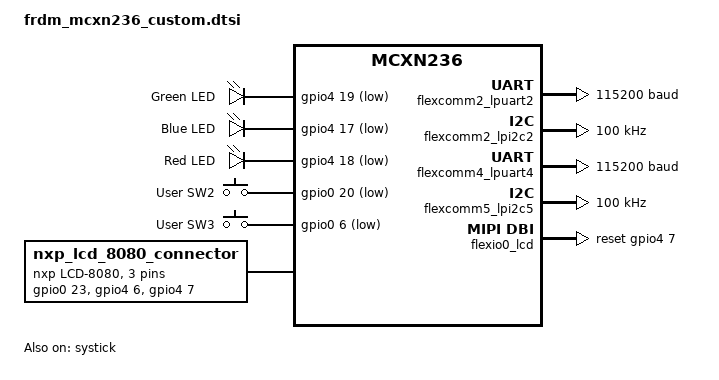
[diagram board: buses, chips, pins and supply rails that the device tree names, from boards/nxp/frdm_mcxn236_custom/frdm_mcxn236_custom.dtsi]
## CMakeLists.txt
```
cmake_minimum_required(VERSION 3.20.0)

list(APPEND BOARD_ROOT ${CMAKE_CURRENT_SOURCE_DIR})

set(ZEPHYR_EXTRA_MODULES ${CMAKE_CURRENT_SOURCE_DIR}/modules/custom-drivers)

find_package(Zephyr REQUIRED HINTS $ENV{ZEPHYR_BASE})
project(app)

target_sources(app PRIVATE src/main.c)
target_sources(app PRIVATE src/sensor_shell.c)
```

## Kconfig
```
menuconfig LED_SUBSYSTEM
	bool "LED Subsystem"
	default y

if LED_SUBSYSTEM
choice
	prompt "LED blink speed time"
	default BLINK_SLEEP_1000MS
config BLINK_SLEEP_250MS
	bool "250ms (fast)"
config BLINK_SLEEP_1000MS
	bool "1s (medium)"
config BLINK_SLEEP_2000MS
	bool "2s (slow)"
endchoice

config BLINK_SLEEP_TIME_MS
	int
	default 250 if BLINK_SLEEP_250MS
	default 1000 if BLINK_SLEEP_1000MS
	default 2000 if BLINK_SLEEP_2000MS
	default 0

menuconfig LED_ADVANCED
	bool "Advanced LED settings"
	default n

if LED_ADVANCED
config LED_BRIGHTNESS
	int "LED brightness (0-100)"
	range 0 100
	default 100
config LED_FADE_DURATION_MS
	int "Fade duration (ms)"
	range 0 5000
	default 500

menu "Expert settings"
	visible if LED_ADVANCED
config LED_DEBUG
	bool "Enable LED debugging"
	default n
config BLINK_PATTERN_CUSTOM
	bool "Custom blink pattern"
	default n
endmenu

endif # LED_ADVANCED
endif # LED_SUBSYSTEM

config APP_HEARTBEAT_PERIOD_MS
	int "Heartbeat period (ms)"
	range 100 2000
	default 500

source "Kconfig.zephyr"
```

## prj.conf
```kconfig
CONFIG_SENSOR=y
CONFIG_GPIO=y
CONFIG_LOG=y
CONFIG_CUSTOM_LED_SENSOR=y
CONFIG_SHELL=y
CONFIG_SHELL_CMDS=y
CONFIG_SHELL_TAB=y
CONFIG_SHELL_TAB_AUTOCOMPLETION=y
CONFIG_SHELL_HISTORY=y
CONFIG_SHELL_LOG_BACKEND=y
```

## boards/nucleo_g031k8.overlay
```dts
/{
	aliases {
        	led-1 = &red_led;
        	led-2 = &blue_led;
    	};

	leds {
		red_led: led_1 {
			gpios = <&gpioa 15 GPIO_ACTIVE_LOW>; // PA15
		};
		blue_led: led_2 {
			gpios = <&gpiob 1 GPIO_ACTIVE_LOW>; // PB1
		};
	};

};
```

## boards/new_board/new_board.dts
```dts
/dts-v1/;
#include <st/g0/stm32g031X8.dtsi>
#include <st/g0/stm32g031k(4-6-8)tx-pinctrl.dtsi>

/{

	model = "New Board From Scratch";
	compatible = "st,stm32g031k8-nucleo";

	chosen {
		zephyr,sram = &sram0;
		zephyr,flash = &flash0;
	};

	aliases {
		led0 = &green_led_3;
	};

	leds: leds {
		compatible = "gpio-leds";

		green_led_3: led_3 {
			gpios = <&gpioc 6 GPIO_ACTIVE_HIGH>;
			label = "User LD3";
		};
	};
};

&timers3 {
	status = "okay";

	pwm3: pwm {
		status = "okay";
		pinctrl-0 = <&tim3_ch1_pc6>;
		pinctrl-names = "default";
	};
};

&clk_hsi {
	status = "okay";
};

&pll {
	div-m = <1>;
	mul-n = <8>;
	div-r = <2>;
	clocks = <&clk_hsi>;
	status = "okay";
};

&rcc {
	clocks = <&pll>;
	clock-frequency = <DT_FREQ_M(64)>;
	ahb-prescaler = <1>;
	apb1-prescaler = <1>;
};
```

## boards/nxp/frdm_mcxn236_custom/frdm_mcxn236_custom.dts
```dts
/*
 * Copyright 2024 NXP
 *
 * SPDX-License-Identifier: Apache-2.0
 */

/dts-v1/;

#include <nxp/nxp_mcxn23x.dtsi>
#include "frdm_mcxn236_custom.dtsi"

/ {
	model = "NXP FRDM_N236 board";
	compatible = "nxp,mcxn236", "nxp,mcx";

	chosen {
		zephyr,sram = &sram0;
		zephyr,flash = &flash;
		zephyr,flash-controller = &fmu;
		zephyr,code-partition = &slot0_partition;
		zephyr,uart-mcumgr = &flexcomm4_lpuart4;
		zephyr,console = &flexcomm4_lpuart4;
		zephyr,shell-uart = &flexcomm4_lpuart4;
		zephyr,canbus = &flexcan1;
	};

	my_led_sensor: led_sensor {
		compatible = "custom,led-sensor";
		gpios = <&gpio4 17 GPIO_ACTIVE_LOW>;
		init-delay-ms = <500>;
		status = "okay";

	};

	aliases{
		watchdog0 = &wwdt0;
		pwm-0 = &flexpwm1_pwm0;
		rtc = &rtc;
	};
};

&sram0 {
	compatible = "mmio-sram";
	reg = <0x20000000 DT_SIZE_K(192)>;
};

&gpio4 {
	status = "okay";
};

&gpio1 {
	status = "okay";
};

&gpio0 {
	status = "okay";
};

&green_led {
	status = "okay";
};

&red_led {
	status = "okay";
};

&user_button_2 {
	status = "okay";
};

&edma0 {
	status = "okay";
};

&flexcomm2 {
	status = "okay";
};

/*
 * LPFLEXCOMM supports UART and I2C on the same instance, enable this for
 * LFLEXCOMM2
 */
&flexcomm2_lpuart2 {
	status = "okay";
};

&flexcomm2_lpi2c2 {
	status = "okay";
};

&flexcomm3 {
	status = "okay";
};

&flexcomm3_lpspi3 {
	status = "okay";
};

&flexcomm4 {
	status = "okay";
};

&flexcomm4_lpuart4 {
	status = "okay";
};

&flexcomm5 {
	status = "okay";
};

&flexcomm5_lpi2c5 {
	status = "okay";
};

&wwdt0 {
	status = "okay";
};

&flexpwm1_pwm0 {
	status = "okay";
};

&flexcan1 {
	status = "okay";
};

&ctimer0 {
	status = "okay";
};

&vref {
	status = "okay";
};

&lpadc0 {
	status = "okay";
};

zephyr_udc0: &usb1 {
	status = "okay";
	phy-handle = <&usbphy1>;
};

&usbphy1 {
	status = "okay";
	tx-d-cal = <4>;
	tx-cal-45-dp-ohms = <7>;
	tx-cal-45-dm-ohms = <7>;
};

&lpcmp0 {
	status = "okay";
};

&i3c1 {
	status = "okay";
};

&flexio0 {
	status = "okay";
};

&lptmr0 {
	status = "okay";
};

&mrt0_channel0 {
	status = "okay";
};

&rtc {
	status = "okay";
};
```

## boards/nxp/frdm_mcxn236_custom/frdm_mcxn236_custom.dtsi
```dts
/*
 * Copyright 2024 NXP
 *
 * SPDX-License-Identifier: Apache-2.0
 */

#include "frdm_mcxn236_custom-pinctrl.dtsi"
#include <zephyr/dt-bindings/i2c/i2c.h>
#include <zephyr/dt-bindings/input/input-event-codes.h>

/ {
	aliases{
		led0 = &red_led;
		led1 = &green_led;
		led2 = &blue_led;
		sw0 = &user_button_2;
		sw1 = &user_button_3;
		mcuboot-button0 = &user_button_2;
	};

	leds {
		compatible = "gpio-leds";
		green_led: led_1 {
			gpios = <&gpio4 19 GPIO_ACTIVE_LOW>;
			label = "Green LED";
		};
		blue_led: led_2 {
			gpios = <&gpio4 17 GPIO_ACTIVE_LOW>;
			label = "Blue LED";
		};
		red_led: led_3 {
			gpios = <&gpio4 18 GPIO_ACTIVE_LOW>;
			label = "Red LED";
		};
	};

	gpio_keys {
		compatible = "gpio-keys";
		user_button_2: button_0 {
			label = "User SW2";
			gpios = <&gpio0 20 (GPIO_ACTIVE_LOW | GPIO_PULL_UP)>;
			zephyr,code = <INPUT_KEY_WAKEUP>;
		};
		user_button_3: button_1 {
			label = "User SW3";
			gpios = <&gpio0 6 (GPIO_ACTIVE_LOW | GPIO_PULL_UP)>;
			zephyr,code = <INPUT_KEY_0>;
		};
	};

	/*
	 * This node describes the GPIO pins of the LCD-PAR-S035 panel 8080 interface.
	 */
	nxp_lcd_8080_connector: lcd-8080-connector {
		compatible = "nxp,lcd-8080";
		#gpio-cells = <2>;
		gpio-map-mask = <0xffffffff 0xffffffc0>;
		gpio-map-pass-thru = <0 0x3f>;
		gpio-map =	<9  0 &gpio0 23 0>,	/* Pin 9, LCD touch INT */
				<10  0 &gpio4 6 0>,	/* Pin 10, LCD backlight control */
				<11  0 &gpio4 7 0>;	/* Pin 11, LCD and touch reset */
	};
};

&flexcomm2_lpuart2 {
	current-speed = <115200>;
	pinctrl-0 = <&pinmux_flexcomm2_lpuart>;
	pinctrl-names = "default";
};

&flexcomm2_lpi2c2 {
	pinctrl-0 = <&pinmux_flexcomm2_lpi2c>;
	pinctrl-names = "default";
	clock-frequency = <I2C_BITRATE_STANDARD>;
};

nxp_8080_touch_panel_i2c: &flexcomm2_lpi2c2 {
	pinctrl-0 = <&pinmux_flexcomm2_lpi2c>;
	pinctrl-names = "default";
	clock-frequency = <I2C_BITRATE_STANDARD>;
};

&flexcomm3_lpspi3 {
	pinctrl-0 = <&pinmux_flexcomm3_lpspi>;
	pinctrl-names = "default";
};

&flexcomm4_lpuart4 {
	current-speed = <115200>;
	pinctrl-0 = <&pinmux_flexcomm4_lpuart>;
	pinctrl-names = "default";
};

&flexcomm5_lpi2c5 {
	pinctrl-0 = <&pinmux_flexcomm5_lpi2c>;
	pinctrl-names = "default";
	clock-frequency = <I2C_BITRATE_STANDARD>;
};

/*
 * MCXN236 board uses OS timer as the kernel timer
 * In case we need to switch to SYSTICK timer, then
 * replace &os_timer with &systick
 */
&os_timer {
	status = "disabled";
};

&systick {
	status = "okay";
};

&flash {
	partitions {
		compatible = "fixed-partitions";
		#address-cells = <1>;
		#size-cells = <1>;

		/*
		 * Partition sizes must be aligned
		 * to the flash memory sector size of 8KB.
		 */
		boot_partition: partition@0 {
			label = "mcuboot";
			reg = <0x00000000 DT_SIZE_K(80)>;
		};
		/* For the MCUBoot "upgrade only" method,
		 * the slot sizes must be equal.
		 */
		slot0_partition: partition@14000 {
			label = "image-0";
			reg = <0x00014000 DT_SIZE_K(440)>;
		};
		slot1_partition: partition@84000 {
			label = "image-1";
			reg = <0x0084000 DT_SIZE_K(440)>;
		};
		storage_partition: partition@F0000 {
			label = "storage";
			reg = <0x000F0000 DT_SIZE_K(64)>;
		};
	};
};

&flexpwm1_pwm0 {
	pinctrl-0 = <&pinmux_flexpwm1_pwm0>;
	pinctrl-names = "default";
};

&lpadc0 {
	pinctrl-0 = <&pinmux_lpadc0>;
	pinctrl-names = "default";
};

&lpcmp0 {
	pinctrl-0 = <&pinmux_lpcmp0>;
	pinctrl-names = "default";
};

&flexcan1 {
	pinctrl-0 = <&pinmux_flexcan1>;
	pinctrl-names = "default";
};

zephyr_mipi_dbi_parallel: &flexio0_lcd {
	/* DMA channels 0, muxed to FlexIO TX */
	dmas = <&edma0 0 61>;
	dma-names = "tx";
	shifters-count = <8>;
	timers-count = <1>;
	enwr-pin = <28>;
	rd-pin = <27>;
	data-pin-start = <4>;
	reset-gpios = <&gpio4 7 GPIO_ACTIVE_HIGH>;
	cs-gpios = <&gpio4 14 GPIO_ACTIVE_HIGH>;
	rs-gpios = <&gpio0 24 GPIO_ACTIVE_HIGH>;
	pinctrl-0 = <&pinmux_flexio_lcd>;
	pinctrl-names = "default";
};

&i3c1 {
	pinctrl-0 = <&pinmux_i3c1>;
	pinctrl-names = "default";
};

p3t1755dp_ard_i3c_interface: &i3c1 {};
p3t1755dp_ard_i2c_interface: &flexcomm5_lpi2c5 {};
```

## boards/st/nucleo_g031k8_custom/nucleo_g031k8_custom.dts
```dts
/*
 * Copyright (c) 2022 Joylab AG <team@joylab.ch>
 *
 * SPDX-License-Identifier: Apache-2.0
 */

/dts-v1/;
#include <st/g0/stm32g031X8.dtsi>
#include <st/g0/stm32g031k(4-6-8)tx-pinctrl.dtsi>
#include "arduino_nano_connector.dtsi"

/ {
	model = "STMicroelectronics STM32G031K8-NUCLEO board (custom)";
	compatible = "st,stm32g031k8_custom-nucleo";

	chosen {
		zephyr,console = &usart2;
		zephyr,shell-uart = &usart2;
		zephyr,sram = &sram0;
		zephyr,flash = &flash0;
	};

	leds: leds {
		compatible = "gpio-leds";

		green_led_3: led_3 {
			gpios = <&gpioc 6 GPIO_ACTIVE_HIGH>;
			label = "User LD3";
		};
	};

	my_led_sensor: led_sensor {
		compatible = "custom,led-sensor";
		gpios = <&gpioa 5 GPIO_ACTIVE_HIGH>;
		init-delay-ms = <500>;
		status = "okay";
	};

	aliases {
		led0 = &green_led_3;
	};
};

&clk_hsi {
	status = "okay";
};

&pll {
	div-m = <1>;
	mul-n = <8>;
	div-r = <2>;
	clocks = <&clk_hsi>;
	status = "okay";
};

&rcc {
	clocks = <&pll>;
	clock-frequency = <DT_FREQ_M(64)>;
	ahb-prescaler = <1>;
	apb1-prescaler = <1>;
};

&usart1 {
	pinctrl-0 = <&usart1_tx_pb6 &usart1_rx_pb7>;
	pinctrl-names = "default";
	current-speed = <115200>;
};

&usart2 {
	pinctrl-0 = <&usart2_tx_pa2 &usart2_rx_pa3>;
	pinctrl-names = "default";
	current-speed = <115200>;
	status = "okay";
};

&i2c1 {
	pinctrl-0 = <&i2c1_scl_pa9 &i2c1_sda_pa10>;
	pinctrl-names = "default";
	clock-frequency = <I2C_BITRATE_FAST>;
	status = "okay";
};

&i2c2 {
	pinctrl-0 = <&i2c2_scl_pa11 &i2c2_sda_pa12>;
	pinctrl-names = "default";
	clock-frequency = <I2C_BITRATE_FAST>;
	status = "okay";
};

&spi1 {
	pinctrl-0 = <&spi1_sck_pb3 &spi1_miso_pb4 &spi1_mosi_pb5>;
	pinctrl-names = "default";
	status = "okay";
};
```

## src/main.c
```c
#include <zephyr/kernel.h>
#include <zephyr/drivers/sensor.h>
#include <zephyr/device.h>
#include "custom_drivers/led_sensor.h"


#define LED_SENSOR_NODE DT_NODELABEL(my_led_sensor)

int main(void)
{
	const struct device *dev = DEVICE_DT_GET(LED_SENSOR_NODE);
	struct sensor_value val;
	uint32_t delay = 0;

	if (!device_is_ready(dev)) {
		printk("LED sensor device not ready\n");
		return 0;
	}
	printk("Device %s ready\n", dev->name);

	/* Tarea 2 */
	if (led_sensor_get_blink_delay(dev, &delay) == 0) {
		printk("Delay Inicial: %u ms\n", delay);
	}

	led_sensor_set_blink_delay(dev, 2000);

	if (led_sensor_get_blink_delay(dev, &delay) == 0) {
		printk("Nuevo delay: %u ms\n", delay);
	}

	while (1) {
		/* Lesson 7 Task 2*/
		uint32_t delay;
		
		led_sensor_get_blink_delay(dev, &delay);

		sensor_sample_fetch(dev);
		k_msleep(delay);

		sensor_channel_get(dev, SENSOR_CHAN_ALL, &val);
		k_msleep(delay);
	}
}
```

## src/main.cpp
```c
#include <zephyr/drivers/gpio.h>
#include <zephyr/kernel.h>
#include <zephyr/logging/log.h>

/* The devicetree node identifier for the "led1" alias. */
#define LED_NODE DT_ALIAS(led0)

static const struct gpio_dt_spec led = GPIO_DT_SPEC_GET(LED_NODE, gpios);

LOG_MODULE_REGISTER(main, LOG_LEVEL_INF);

int main(void)
{
    bool led_state = true;

    if (!gpio_is_ready_dt(&led)) return 0;

    if (gpio_pin_configure_dt(&led, GPIO_OUTPUT_ACTIVE) < 0) return 0;

    while (1) {
        if (gpio_pin_toggle_dt(&led) < 0) return 0;

        led_state = !led_state;
        LOG_INF("LED state: %s", led_state ? "ON" : "OFF");
        //k_msleep(CONFIG_BLINK_SLEEP_TIME_MS);
    }
    return 0;
}
```

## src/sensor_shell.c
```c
#include <zephyr/device.h>
#include <zephyr/drivers/sensor.h>
#include <zephyr/shell/shell.h>
#include <errno.h>

#include "custom_drivers/led_sensor.h"

#define LED_SENSOR_NODE DT_NODELABEL(my_led_sensor)

static const struct device *sensor_dev = DEVICE_DT_GET(LED_SENSOR_NODE);

/* sensor fetch — llama a sensor_sample_fetch() (prende el LED)*/
static int cmd_sensor_fetch(const struct shell *sh, size_t argc, char **argv)
{
	ARG_UNUSED(argc);
	ARG_UNUSED(argv);

	if (!device_is_ready(sensor_dev)) {
		shell_error(sh, "El sensor no está listo");
		return -ENODEV;
	}

	int err = sensor_sample_fetch(sensor_dev);

	if (err) {
		shell_error(sh, "Fallo sensor_sample_fetch (err: %d)", err);
		return err;
	}

	shell_print(sh, "Sensor fetched OK (LED ON)");
	return 0;
}

/* sensor read — llama a sensor_channel_get() e imprime el resultado (apaga el LED) */
static int cmd_sensor_read(const struct shell *sh, size_t argc, char **argv)
{
	struct sensor_value val;

	ARG_UNUSED(argc);
	ARG_UNUSED(argv);

	if (!device_is_ready(sensor_dev)) {
		shell_error(sh, "El sensor no está listo");
		return -ENODEV;
	}

	int err = sensor_channel_get(sensor_dev, SENSOR_CHAN_ALL, &val);

	if (err) {
		shell_error(sh, "Fallo sensor_channel_get (err: %d)", err);
		return err;
	}

	shell_print(sh, "Estado del LED: %s (val1=%d, val2=%d)",
		    val.val1 ? "ON" : "OFF", val.val1, val.val2);
	return 0;
}

/* sensor info — nombre del device y estado ready */
static int cmd_sensor_info(const struct shell *sh, size_t argc, char **argv)
{
	ARG_UNUSED(argc);
	ARG_UNUSED(argv);

	shell_print(sh, "device: %s", sensor_dev->name);
	shell_print(sh, "ready:  %s", device_is_ready(sensor_dev) ? "si" : "no");
	return 0;
}

/* sensor set — establece el retraso de parpadeo */
static int cmd_sensor_set(const struct shell *sh, size_t argc, char **argv)
{
	if (!device_is_ready(sensor_dev)) {
		shell_error(sh, "El dispositivo no esta listo: %s", sensor_dev->name);
		return -ENODEV;
	}

	errno = 0;
	int parse_err;
	parse_err = 0;

	unsigned long val = shell_strtoul(argv[argc - 1], 10, &parse_err);

	if (parse_err != 0) {
		shell_error(sh, "El valor '%s' no es un número", argv[argc - 1]);
		return -EINVAL;
	}
	if (val == 0 || val > 60000) {
		shell_error(sh, "El valor está fuera del rango (1..60000 ms)");
		return -EINVAL;
	}

	int err = led_sensor_set_blink_delay(sensor_dev, (uint32_t)val);
	if (err) {
		shell_error(sh, "Error al establecer el retraso: %d", err);
		return err;
	}

	shell_print(sh, "Retraso de parpadeo establecido en %lu ms", val);
	return 0;
}

SHELL_STATIC_SUBCMD_SET_CREATE(
	sub_sensor,
	SHELL_CMD(fetch, NULL, "Fetch LED (prende LED)", cmd_sensor_fetch),
	SHELL_CMD(read,  NULL, "Lee LED (apaga LED)", cmd_sensor_read),
	SHELL_CMD(info,  NULL, "Nombre y estado del sensor", cmd_sensor_info),
	SHELL_CMD_ARG(set, NULL, "Setear blink delay: sensor set <ms>", cmd_sensor_set, 2, 0),
	SHELL_SUBCMD_SET_END
);

SHELL_CMD_REGISTER(sensor, &sub_sensor, "LED Sensor Commands", NULL);
```
